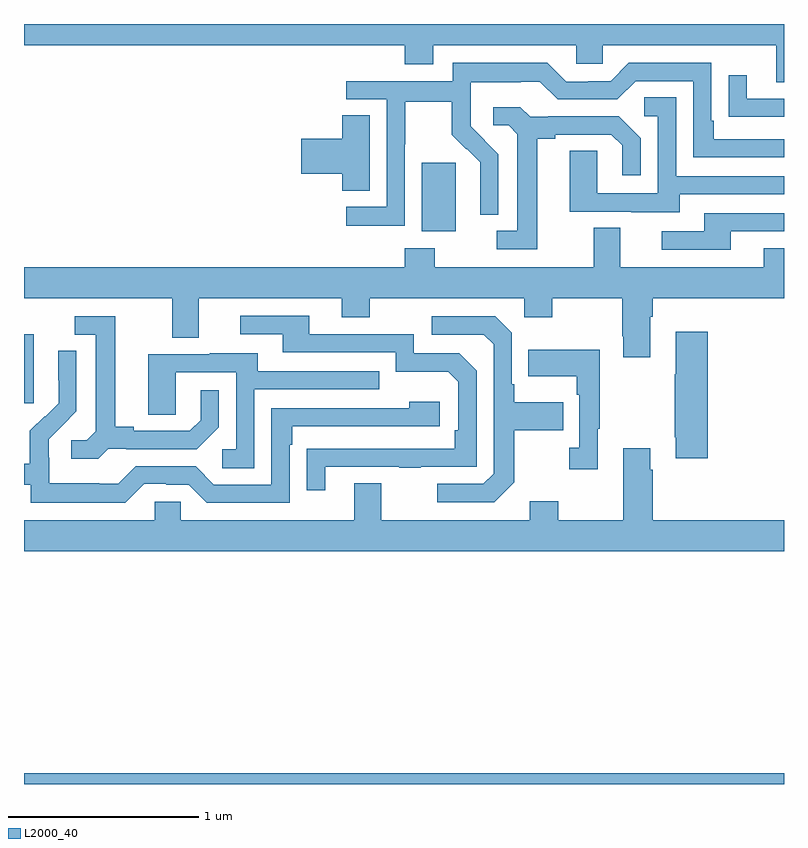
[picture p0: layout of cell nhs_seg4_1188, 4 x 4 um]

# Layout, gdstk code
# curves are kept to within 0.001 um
import gdstk
lib = gdstk.Library(unit=1e-6, precision=1e-09)
def R(c, l, rs):  # rectangles x0, y0, x1, y1
    for r in rs: c.add(gdstk.rectangle(r[:2], r[2:], *l))
def P(c, l, *ps):  # polygons
    for p in ps: c.add(gdstk.Polygon(p, *l))
L2000_40 = (2000, 40)

nhs_seg4_1188 = lib.new_cell('nhs_seg4_1188')
R(nhs_seg4_1188, L2000_40, [(171,824.9,175,824.956), (171,826.905,171.052,827.266), (173.093,827.81,173.272,828.171)])
P(nhs_seg4_1188, L2000_40, [(175,828.9),(171,828.9),(171,828.788),(173.003,828.788),(173.003,828.689),(173.155,828.689),(173.155,828.788),(173.907,828.788),(173.907,828.69),(174.045,828.69),(174.045,828.788),(174.959,828.788),(174.959,828.594),(175,828.594)],
  [(173.004,828.268),(173.007,828.268),(173.007,828.492),(173.251,828.492),(173.251,828.317),(173.328,828.24),(173.331,828.243),(173.402,828.173),(173.402,828.05),(173.4,828.05),(173.4,827.896),(173.496,827.896),(173.496,828.214),(173.35,828.362),(173.35,828.459),(173.352,828.459),(173.352,828.593),(173.615,828.593),(173.615,828.597),(173.715,828.597),(173.808,828.504),(174.123,828.504),(174.219,828.6),(174.522,828.6),(174.522,828.198),(175,828.198),(175,828.294),(174.631,828.294),(174.631,828.391),(174.618,828.391),(174.618,828.696),(174.183,828.696),(174.087,828.6),(173.969,828.6),(173.969,828.597),(173.853,828.597),(173.753,828.697),(173.256,828.697),(173.256,828.6),(172.695,828.6),(172.695,828.504),(172.908,828.504),(172.908,827.937),(172.695,827.937),(172.695,827.839),(173.004,827.839)],
  [(175,828.507),(174.805,828.507),(174.805,828.631),(174.709,828.631),(174.709,828.412),(174.811,828.412),(174.811,828.411),(175,828.411)],
  [(174.451,828.003),(175,828.003),(175,828.099),(174.432,828.099),(174.432,828.515),(174.264,828.515),(174.264,828.414),(174.336,828.414),(174.336,828.009),(174.018,828.009),(174.018,828.233),(173.873,828.233),(173.873,827.913),(174.197,827.913),(174.197,827.909),(174.451,827.909)],
  [(173.701,828.296),(173.797,828.296),(173.797,828.318),(174.092,828.318),(174.149,828.261),(174.149,828.105),(174.246,828.105),(174.246,828.298),(174.13,828.414),(173.758,828.414),(173.758,828.411),(173.664,828.411),(173.612,828.463),(173.469,828.463),(173.469,828.366),(173.55,828.366),(173.597,828.319),(173.597,827.811),(173.487,827.811),(173.487,827.715),(173.701,827.715)],
  [(172.819,828.419),(172.676,828.419),(172.676,828.296),(172.458,828.296),(172.458,828.113),(172.676,828.113),(172.676,828.022),(172.819,828.022)],
  [(174.721,827.808),(175,827.808),(175,827.904),(174.581,827.904),(174.581,827.808),(174.357,827.808),(174.357,827.712),(174.721,827.712)],
  [(174.295,827.36),(174.308,827.36),(174.308,827.456),(175,827.456),(175,827.719),(174.893,827.719),(174.893,827.62),(174.139,827.62),(174.139,827.828),(173.999,827.828),(173.999,827.62),(173.163,827.62),(173.163,827.719),(173.003,827.719),(173.003,827.62),(171,827.62),(171,827.456),(171.779,827.456),(171.779,827.248),(171.919,827.248),(171.919,827.456),(172.673,827.456),(172.673,827.357),(172.821,827.357),(172.821,827.456),(173.634,827.456),(173.634,827.357),(173.781,827.357),(173.781,827.456),(174.148,827.456),(174.148,827.257),(174.155,827.257),(174.155,827.145),(174.295,827.145)],
  [(172.585,826.569),(172.975,826.569),(172.975,826.564),(173.087,826.564),(173.087,826.569),(173.382,826.569),(173.382,827.076),(173.292,827.166),(173.052,827.166),(173.052,827.268),(172.501,827.268),(172.501,827.364),(172.137,827.364),(172.137,827.268),(172.361,827.268),(172.361,827.172),(172.956,827.172),(172.956,827.069),(173.233,827.069),(173.286,827.016),(173.286,826.762),(173.266,826.762),(173.266,826.665),(172.489,826.664),(172.489,826.446),(172.585,826.446)],
  [(173.581,826.489),(173.581,826.762),(173.837,826.762),(173.837,826.909),(173.581,826.909),(173.581,827.005),(173.568,827.005),(173.568,827.274),(173.481,827.361),(173.145,827.361),(173.145,827.265),(173.421,827.265),(173.472,827.214),(173.472,826.533),(173.418,826.479),(173.175,826.479),(173.175,826.383),(173.475,826.383)],
  [(171.444,826.665),(171.538,826.665),(171.538,826.662),(171.91,826.662),(172.026,826.778),(172.026,826.972),(171.929,826.972),(171.929,826.815),(171.872,826.758),(171.577,826.758),(171.577,826.781),(171.481,826.781),(171.481,827.361),(171.267,827.361),(171.267,827.265),(171.377,827.265),(171.377,826.757),(171.33,826.71),(171.249,826.71),(171.249,826.613),(171.392,826.613)],
  [(174.599,827.281),(174.431,827.281),(174.431,827.057),(174.424,827.057),(174.424,826.726),(174.431,826.726),(174.431,826.614),(174.599,826.614)],
  [(174.019,826.769),(174.031,826.769),(174.031,827.185),(173.653,827.185),(173.653,827.045),(173.91,827.045),(173.91,826.949),(173.922,826.949),(173.922,826.67),(173.871,826.67),(173.871,826.557),(174.019,826.557)],
  [(171.633,826.479),(171.749,826.479),(171.749,826.476),(171.867,826.476),(171.963,826.38),(172.398,826.38),(172.398,826.685),(172.411,826.685),(172.411,826.782),(173.188,826.782),(173.188,826.912),(173.027,826.912),(173.027,826.878),(172.302,826.878),(172.302,826.476),(171.999,826.476),(171.903,826.572),(171.588,826.572),(171.495,826.479),(171.395,826.479),(171.395,826.483),(171.132,826.483),(171.132,826.617),(171.13,826.617),(171.13,826.714),(171.276,826.862),(171.276,827.18),(171.18,827.18),(171.18,827.026),(171.182,827.026),(171.182,826.904),(171.111,826.833),(171.108,826.836),(171.031,826.759),(171.031,826.585),(171,826.585),(171,826.476),(171.036,826.476),(171.036,826.379),(171.533,826.379)],
  [(172.212,826.977),(172.871,826.977),(172.871,827.073),(172.231,827.073),(172.231,827.167),(171.977,827.167),(171.977,827.163),(171.653,827.163),(171.653,826.843),(171.798,826.843),(171.798,827.067),(172.116,827.067),(172.116,826.662),(172.044,826.662),(172.044,826.561),(172.212,826.561)],
  [(175,826.288),(174.308,826.288),(174.308,826.553),(174.295,826.553),(174.295,826.666),(174.155,826.666),(174.155,826.288),(173.811,826.288),(173.811,826.387),(173.663,826.387),(173.663,826.288),(172.879,826.288),(172.879,826.483),(172.739,826.483),(172.739,826.288),(171.825,826.288),(171.825,826.386),(171.687,826.386),(171.687,826.288),(171,826.288),(171,826.124),(175,826.124)])

lib.write_gds('nhs_seg4_1188.gds')
